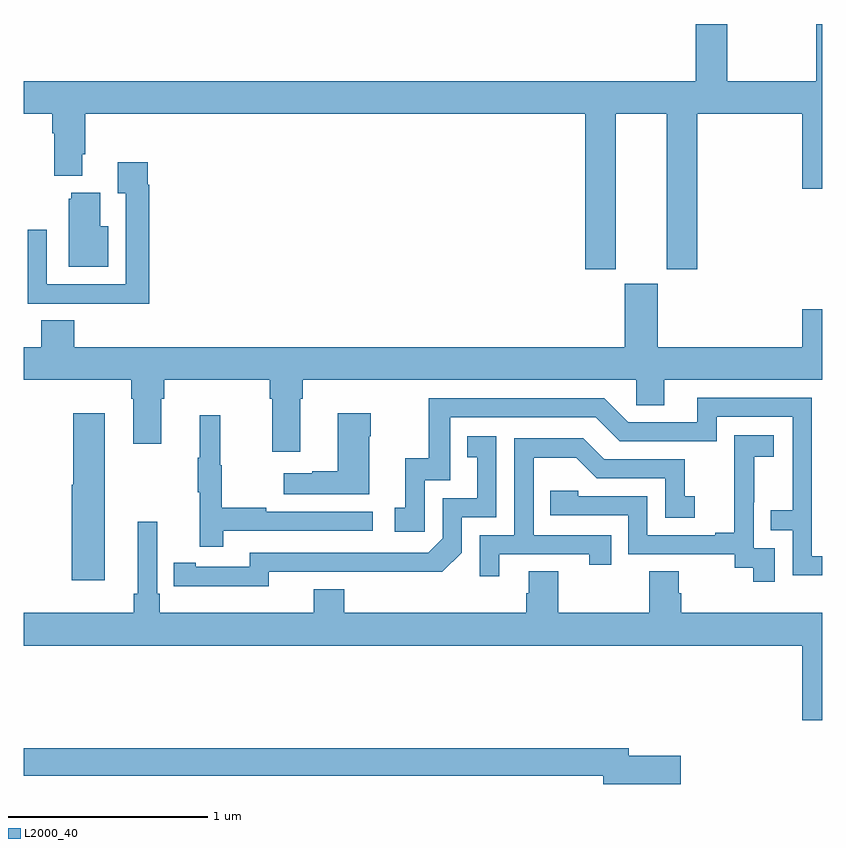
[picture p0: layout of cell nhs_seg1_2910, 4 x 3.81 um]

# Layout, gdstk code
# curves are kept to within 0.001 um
import gdstk
lib = gdstk.Library(unit=1e-6, precision=1e-09)
def P(c, l, *ps):  # polygons
    for p in ps: c.add(gdstk.Polygon(p, *l))
L2000_40 = (2000, 40)

nhs_seg1_2910 = lib.new_cell('nhs_seg1_2910')
P(nhs_seg1_2910, L2000_40, [(271.966,535.748),(272.222,535.748),(272.222,534.969),(272.375,534.969),(272.375,535.748),(272.9,535.748),(272.9,535.374),(273,535.374),(273,536.199),(272.971,536.199),(272.971,535.912),(272.526,535.912),(272.526,536.199),(272.366,536.199),(272.366,535.912),(269,535.912),(269,535.748),(269.141,535.748),(269.141,535.652),(269.153,535.652),(269.153,535.439),(269.293,535.439),(269.293,535.546),(269.306,535.546),(269.306,535.748),(271.814,535.748),(271.814,534.969),(271.966,534.969)],
  [(269.627,535.394),(269.62,535.394),(269.62,535.507),(269.471,535.507),(269.471,535.351),(269.511,535.351),(269.511,534.894),(269.115,534.894),(269.115,535.168),(269.019,535.168),(269.019,534.798),(269.335,534.798),(269.335,534.797),(269.627,534.797)],
  [(269.422,535.186),(269.383,535.186),(269.383,535.354),(269.237,535.354),(269.237,535.323),(269.225,535.323),(269.225,534.983),(269.422,534.983)],
  [(270.385,534.32),(270.398,534.32),(270.398,534.416),(272.07,534.416),(272.07,534.289),(272.209,534.289),(272.209,534.416),(273,534.416),(273,534.769),(272.9,534.769),(272.9,534.58),(272.176,534.58),(272.176,534.897),(272.012,534.897),(272.012,534.58),(269.252,534.58),(269.252,534.713),(269.087,534.713),(269.087,534.58),(269,534.58),(269,534.416),(269.537,534.416),(269.537,534.32),(269.549,534.32),(269.549,534.096),(269.689,534.096),(269.689,534.32),(269.702,534.32),(269.702,534.416),(270.233,534.416),(270.233,534.32),(270.245,534.32),(270.245,534.054),(270.385,534.054)],
  [(273,533.532),(272.949,533.532),(272.949,534.327),(272.375,534.327),(272.375,534.204),(272.028,534.204),(271.908,534.324),(271.029,534.324),(271.029,534.022),(270.911,534.022),(270.911,533.775),(270.858,533.775),(270.858,533.655),(271.008,533.655),(271.008,533.913),(271.137,533.913),(271.137,534.228),(271.866,534.228),(271.986,534.108),(272.472,534.108),(272.472,534.231),(272.853,534.231),(272.853,533.762),(272.743,533.762),(272.743,533.661),(272.853,533.661),(272.853,533.436),(273,533.436)],
  [(269.404,534.247),(269.246,534.247),(269.246,533.889),(269.24,533.889),(269.24,533.412),(269.404,533.412)],
  [(270.73,534.134),(270.738,534.134),(270.738,534.247),(270.572,534.247),(270.572,533.957),(270.446,533.957),(270.446,533.947),(270.303,533.947),(270.303,533.843),(270.73,533.843)],
  [(269.999,533.658),(270.748,533.658),(270.748,533.754),(270.215,533.754),(270.215,533.774),(269.992,533.774),(269.992,533.988),(269.984,533.988),(269.984,534.238),(269.882,534.238),(269.882,534.025),(269.871,534.025),(269.871,533.851),(269.882,533.851),(269.882,533.58),(269.999,533.58)],
  [(272.763,533.571),(272.658,533.571),(272.658,533.801),(272.66,533.801),(272.66,534.029),(272.758,534.029),(272.758,534.139),(272.56,534.139),(272.56,533.933),(272.561,533.933),(272.561,533.65),(272.465,533.65),(272.465,533.637),(272.124,533.637),(272.124,533.832),(271.779,533.832),(271.779,533.859),(271.639,533.859),(271.639,533.736),(272.028,533.736),(272.028,533.541),(272.562,533.541),(272.562,533.473),(272.655,533.473),(272.655,533.403),(272.763,533.403)],
  [(270.228,533.454),(271.096,533.453),(271.194,533.55),(271.194,533.727),(271.368,533.727),(271.368,534.133),(271.222,534.133),(271.222,534.027),(271.271,534.027),(271.271,533.823),(271.098,533.823),(271.098,533.622),(271.026,533.55),(270.132,533.55),(270.132,533.478),(269.86,533.478),(269.86,533.498),(269.752,533.498),(269.752,533.382),(270.228,533.381)],
  [(271.381,533.541),(271.832,533.541),(271.832,533.49),(271.943,533.49),(271.943,533.637),(271.554,533.637),(271.554,534.026),(271.768,534.026),(271.872,533.922),(272.214,533.922),(272.214,533.724),(272.362,533.724),(272.362,533.833),(272.313,533.833),(272.313,534.018),(271.909,534.018),(271.804,534.123),(271.458,534.123),(271.458,533.637),(271.284,533.637),(271.284,533.43),(271.381,533.43)],
  [(273,533.248),(272.294,533.248),(272.294,533.346),(272.281,533.346),(272.281,533.456),(272.134,533.456),(272.134,533.248),(271.677,533.248),(271.677,533.456),(271.529,533.456),(271.529,533.346),(271.517,533.346),(271.517,533.248),(270.605,533.248),(270.605,533.365),(270.452,533.365),(270.452,533.248),(269.681,533.248),(269.681,533.344),(269.667,533.344),(269.667,533.704),(269.57,533.704),(269.57,533.344),(269.551,533.344),(269.551,533.248),(269,533.248),(269,533.084),(272.9,533.084),(272.9,532.71),(273,532.71)],
  [(272.293,532.532),(272.032,532.532),(272.032,532.568),(269,532.568),(269,532.432),(271.904,532.432),(271.904,532.39),(272.293,532.39)])

lib.write_gds('nhs_seg1_2910.gds')
